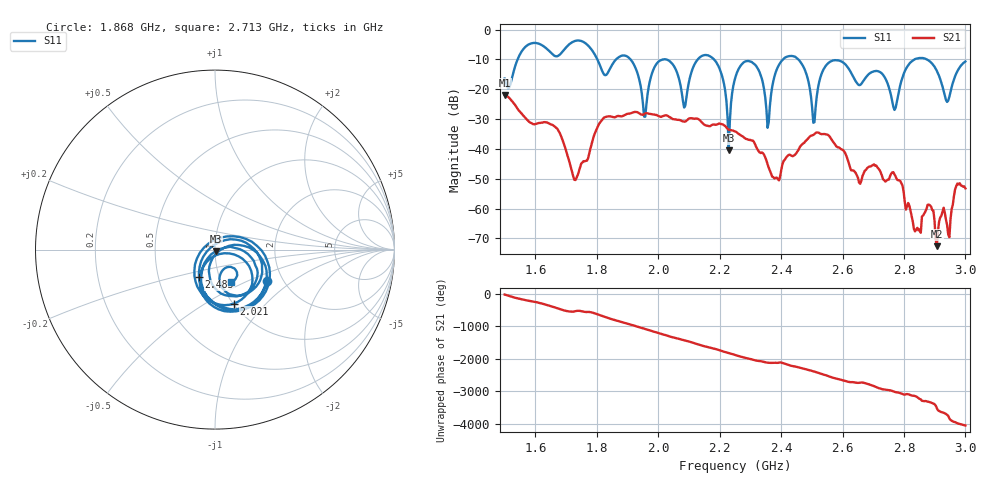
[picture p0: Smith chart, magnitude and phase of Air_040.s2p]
# HZ S RI R 50
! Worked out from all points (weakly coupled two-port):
!   404 points, 1.5 GHz to 3 GHz, reference 50 ohm
!   highest |S21| = -21.93 dB at 1.5 GHz (marker M1); lowest = -72.6 dB at 2.907 GHz (marker M2)
!   lowest |S11| = -40.5 dB at 2.23 GHz (marker M3), VSWR 1.02, Z = 50.3 - j0.898 ohm
!   |S11| at or under -10 dB: 2.182 GHz to 2.406 GHz (224.2 MHz wide, 9.77 % of centre); 2.456 GHz to 2.834 GHz (377.6 MHz wide, 14.3 % of centre); 2.875 GHz to end of sweep (the widest 3 of 7)
!   S12 and S22 are empty: the file has one direction only
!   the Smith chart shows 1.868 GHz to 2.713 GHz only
!   S11 on the Smith chart (normalised r, x): 1.868 GHz: 1.65, -0.65; 2.021 GHz: 1.01, -0.68; 2.483 GHz: 0.80, -0.26; 2.713 GHz: 1.11, -0.42
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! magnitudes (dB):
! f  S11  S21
! 1.5 GHz  -16.4  -21.9
! 1.753 GHz  -3.9  -44.6
! 1.868 GHz  -9.5  -28.9
! 1.958 GHz  -29.2  -28.1
! 2.002 GHz  -10.6  -29.0
! 2.021 GHz  -9.9  -28.8
! 2.084 GHz  -26.1  -30.8
! 2.177 GHz  -9.6  -31.9
! 2.23 GHz  -40.5  -33.5
! 2.252 GHz  -15.8  -34.2
! 2.315 GHz  -11.7  -38.4
! 2.356 GHz  -32.9  -45.2
! 2.386 GHz  -13.4  -49.6
! 2.483 GHz  -15.0  -37.1
! 2.501 GHz  -26.3  -35.4
! 2.561 GHz  -10.7  -36.3
! 2.654 GHz  -18.6  -51.3
! 2.713 GHz  -13.9  -46.2
! 2.751 GHz  -19.3  -50.3
! 2.907 GHz  -13.8  -72.6
! 2.94 GHz  -24.2  -65.5
! 3 GHz  -10.7  -53.3
